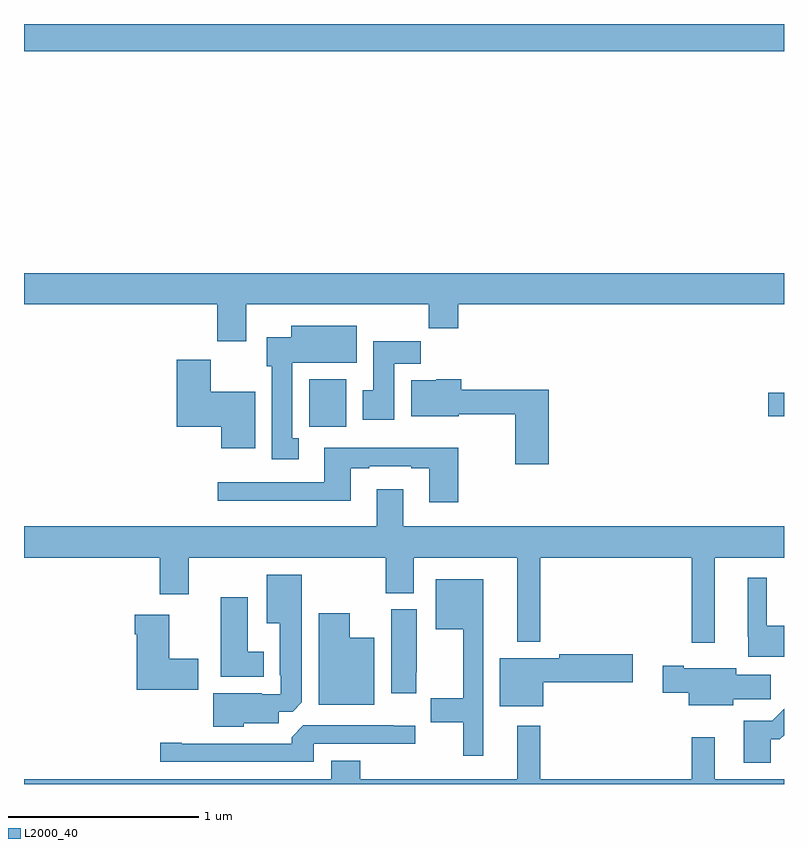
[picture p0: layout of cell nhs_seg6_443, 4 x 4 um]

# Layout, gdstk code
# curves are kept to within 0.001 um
import gdstk
lib = gdstk.Library(unit=1e-6, precision=1e-09)
def R(c, l, rs):  # rectangles x0, y0, x1, y1
    for r in rs: c.add(gdstk.rectangle(r[:2], r[2:], *l))
def P(c, l, *ps):  # polygons
    for p in ps: c.add(gdstk.Polygon(p, *l))
L2000_40 = (2000, 40)

nhs_seg6_443 = lib.new_cell('nhs_seg6_443')
R(nhs_seg6_443, L2000_40, [(138.501,925.38,138.697,925.63), (140.916,925.436,141,925.558), (137,927.356,141,927.5)])
P(nhs_seg6_443, L2000_40, [(138.169,926.024),(139.129,926.024),(139.129,925.9),(139.286,925.9),(139.286,926.024),(141,926.024),(141,926.188),(137,926.188),(137,926.024),(138.017,926.024),(138.017,925.83),(138.169,925.83)],
  [(138.445,925.321),(138.412,925.321),(138.412,925.718),(138.751,925.718),(138.751,925.912),(138.407,925.912),(138.407,925.852),(138.278,925.852),(138.278,925.698),(138.305,925.698),(138.305,925.209),(138.445,925.209)],
  [(138.949,925.712),(139.088,925.712),(139.088,925.83),(138.839,925.83),(138.839,925.572),(138.782,925.572),(138.782,925.416),(138.949,925.416)],
  [(138.217,925.564),(137.982,925.564),(137.982,925.732),(137.804,925.732),(137.804,925.379),(138.038,925.379),(138.038,925.268),(138.217,925.268)],
  [(139.763,925.576),(139.301,925.576),(139.301,925.63),(139.17,925.63),(139.17,925.624),(139.037,925.624),(139.037,925.436),(139.288,925.436),(139.288,925.447),(139.585,925.447),(139.585,925.182),(139.763,925.182)],
  [(139.286,925.27),(138.581,925.27),(138.581,925.089),(138.021,925.089),(138.021,924.992),(138.721,924.992),(138.721,925.161),(138.817,925.161),(138.817,925.173),(139.037,925.173),(139.037,925.161),(139.133,925.161),(139.133,924.984),(139.286,924.984)],
  [(140.635,924.692),(141,924.692),(141,924.856),(138.997,924.856),(138.997,925.051),(138.857,925.051),(138.857,924.856),(137,924.856),(137,924.692),(137.714,924.692),(137.714,924.498),(137.866,924.498),(137.866,924.692),(138.904,924.692),(138.904,924.505),(139.051,924.505),(139.051,924.692),(139.595,924.692),(139.595,924.248),(139.717,924.248),(139.717,924.692),(140.514,924.692),(140.514,924.243),(140.635,924.243)],
  [(138.156,923.819),(138.34,923.819),(138.34,923.88),(138.414,923.88),(138.463,923.929),(138.463,924.601),(138.278,924.601),(138.278,924.347),(138.347,924.347),(138.347,924.073),(138.351,924.073),(138.351,923.973),(138.251,923.973),(138.251,923.977),(137.996,923.977),(137.996,923.801),(138.156,923.801)],
  [(141,924.334),(140.908,924.334),(140.908,924.586),(140.81,924.586),(140.81,924.274),(140.811,924.274),(140.811,924.17),(141,924.17)],
  [(139.417,924.577),(139.166,924.577),(139.166,924.314),(139.313,924.314),(139.313,923.952),(139.141,923.952),(139.141,923.824),(139.313,923.824),(139.313,923.649),(139.417,923.649)],
  [(138.262,924.196),(138.178,924.196),(138.178,924.484),(138.035,924.484),(138.035,924.065),(138.262,924.065)],
  [(139.064,924.088),(139.066,924.088),(139.066,924.42),(138.932,924.42),(138.932,923.977),(139.064,923.977)],
  [(138.844,924.271),(138.715,924.271),(138.715,924.4),(138.551,924.4),(138.551,923.918),(138.844,923.918)],
  [(137.917,924.159),(137.764,924.159),(137.764,924.391),(137.582,924.391),(137.582,924.287),(137.594,924.287),(137.594,923.996),(137.917,923.996)],
  [(139.732,924.035),(140.203,924.035),(140.203,924.182),(139.818,924.182),(139.818,924.163),(139.505,924.163),(139.505,923.909),(139.732,923.909)],
  [(140.734,923.947),(140.929,923.947),(140.929,924.076),(140.749,924.076),(140.749,924.109),(140.473,924.109),(140.473,924.122),(140.361,924.122),(140.361,923.98),(140.498,923.98),(140.498,923.915),(140.734,923.915)],
  [(140.929,923.735),(140.978,923.735),(141,923.757),(141,923.895),(140.938,923.833),(140.789,923.833),(140.789,923.613),(140.929,923.613)],
  [(138.525,923.712),(139.058,923.712),(139.058,923.807),(138.947,923.807),(138.947,923.809),(138.471,923.808),(138.41,923.746),(138.41,923.712),(137.83,923.712),(137.83,923.717),(137.718,923.717),(137.718,923.616),(138.525,923.616)],
  [(141,923.524),(140.635,923.524),(140.635,923.746),(140.514,923.746),(140.514,923.524),(139.717,923.524),(139.717,923.806),(139.595,923.806),(139.595,923.524),(138.77,923.524),(138.77,923.623),(138.617,923.623),(138.617,923.524),(137,923.524),(137,923.5),(141,923.5)])

lib.write_gds('nhs_seg6_443.gds')
